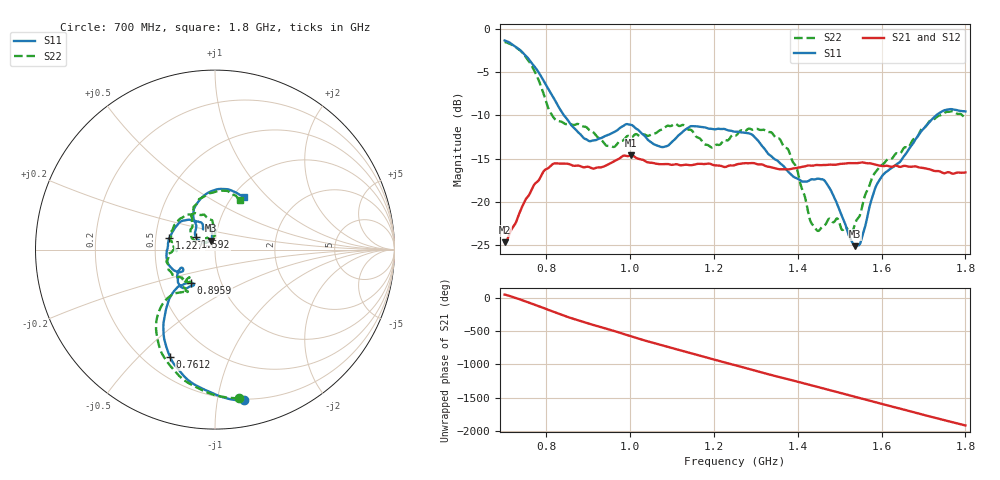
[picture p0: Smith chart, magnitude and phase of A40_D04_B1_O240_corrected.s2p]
! Created with skrf 1.9.0 (http://scikit-rf.org).
# Hz S RI R 50.0
!freq ReS11 ImS11 ReS21 ImS21 ReS12 ImS12 ReS22 ImS22
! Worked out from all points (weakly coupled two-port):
!   1601 points, 700 MHz to 1.8 GHz, reference 50 ohm
!   highest |S21| = -14.64 dB at 1.002 GHz (marker M1); lowest = -24.7 dB at 700 MHz (marker M2)
!   lowest |S11| = -25.1 dB at 1.537 GHz (marker M3), VSWR 1.12, Z = 47.4 + j4.73 ohm
!   |S11| at or under -10 dB: 841.6 MHz to 1.73 GHz (888.8 MHz wide, 69.1 % of centre)
!   |S22| runs from -23.9 to -1.5 dB; largest |S21 - S12| = 0.0034
!   S11 on the Smith chart (normalised r, x): 700 MHz: 0.19, -1.20; 761.2 MHz: 0.30, -0.62; 895.9 MHz: 0.72, -0.28; 1.227 GHz: 0.59, +0.08; 1.592 GHz: 0.80, +0.12; 1.8 GHz: 1.13, +0.74
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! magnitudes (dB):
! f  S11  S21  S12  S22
! 700 MHz  -1.3  -24.7  -24.5  -1.5
! 761.2 MHz  -3.7  -19.0  -18.9  -4.0
! 818.2 MHz  -8.1  -15.6  -15.7  -10.3
! 883.6 MHz  -12.3  -15.9  -15.8  -11.2
! 895.9 MHz  -12.8  -15.9  -16.0  -11.4
! 946.8 MHz  -12.3  -15.7  -15.7  -13.5
! 1.002 GHz  -11.1  -14.6  -14.7  -12.5
! 1.067 GHz  -13.5  -15.6  -15.6  -11.8
! 1.145 GHz  -11.3  -15.8  -15.8  -11.7
! 1.193 GHz  -11.6  -15.6  -15.6  -13.7
! 1.227 GHz  -11.6  -16.0  -15.9  -12.8
! 1.25 GHz  -11.9  -15.8  -15.7  -12.3
! 1.357 GHz  -15.5  -16.2  -16.2  -12.8
! 1.396 GHz  -17.2  -16.1  -16.1  -15.9
! 1.434 GHz  -17.4  -15.8  -15.8  -22.6
! 1.471 GHz  -18.1  -15.7  -15.7  -22.1
! 1.537 GHz  -25.1  -15.5  -15.5  -22.5
! 1.551 GHz  -24.5  -15.5  -15.5  -21.1
! 1.592 GHz  -17.7  -15.8  -15.8  -16.2
! 1.617 GHz  -16.3  -15.9  -15.8  -15.1
! 1.733 GHz  -9.9  -16.4  -16.5  -10.1
! 1.8 GHz  -9.5  -16.6  -16.6  -10.2
